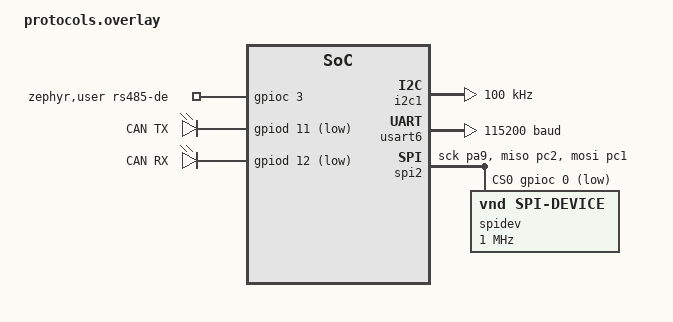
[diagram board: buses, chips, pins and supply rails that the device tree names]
/* i2c + spi + uart + rs485 + can, taken from the driver READMEs. */
/delete-node/ &st7920;

/ {
	zephyr,user {
		rs485-de-gpios = <&gpioc 3 GPIO_ACTIVE_HIGH>;
	};

	can_leds {
		compatible = "gpio-leds";
		can_tx_led: can_tx_led { gpios = <&gpiod 11 GPIO_ACTIVE_LOW>; label = "CAN TX"; };
		can_rx_led: can_rx_led { gpios = <&gpiod 12 GPIO_ACTIVE_LOW>; label = "CAN RX"; };
	};
};

&i2c1 {
	clock-frequency = <I2C_BITRATE_STANDARD>;
};

&usart6 {
	current-speed = <115200>;
};

&pinctrl {
	spi2_miso_pc2: spi2_miso_pc2 {
		pinmux = <STM32_PINMUX('C', 2, AF5)>;
		bias-pull-down;
	};
};

&spi2 {
	pinctrl-0 = <&spi2_sck_pa9 &spi2_miso_pc2 &spi2_mosi_pc1>;
	pinctrl-names = "default";
	cs-gpios = <&gpioc 0 GPIO_ACTIVE_LOW>;
	status = "okay";

	spidev: spidev@0 {
		compatible = "vnd,spi-device";
		reg = <0>;
		spi-max-frequency = <1000000>;
	};
};
